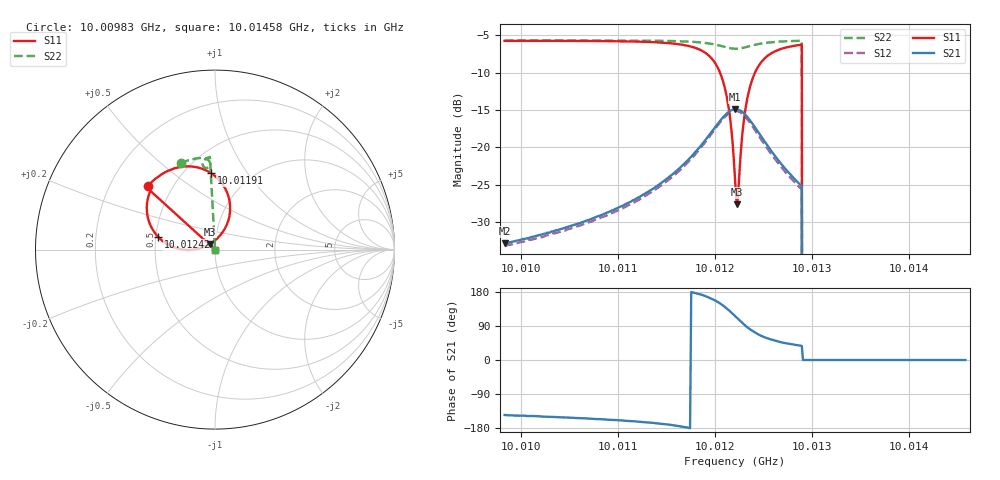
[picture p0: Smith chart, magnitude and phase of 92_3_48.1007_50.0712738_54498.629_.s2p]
#  HZ  S  RI  R  50.00
! Rohde & Schwarz Vector Network Analyzer
! Rohde-Schwarz,ZNB20-2Port,1311601062101988,3.16
! Created: UTC 12/23/2023, 3:43:51 AM
! freq[Hz]  re:S11  im:S11  re:S21  im:S21  re:S12  im:S12  re:S22  im:S22
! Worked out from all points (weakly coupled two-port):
!   401 points, 10.00983 GHz to 10.01458 GHz, reference 50 ohm
!   highest |S21| = -14.89 dB at 10.01221 GHz (marker M1); lowest = -32.8 dB at 10.00983 GHz (marker M2)
!   lowest |S11| = -27.6 dB at 10.01223 GHz (marker M3), VSWR 1.09, Z = 47.3 + j3.04 ohm
!   |S11| at or under -10 dB: 10.01205 GHz to 10.01241 GHz (361.2 kHz wide, 0.00361 % of centre); 10.0129 GHz to end of sweep
!   |S22| runs from - to -5.7 dB; largest |S21 - S12| = 0.0087
!   S11 on the Smith chart (normalised r, x): 10.00983 GHz: 0.36, +0.35; 10.01191 GHz: 0.67, +0.70; 10.01242 GHz: 0.52, +0.08; 10.01458 GHz: 1.00, +0.00
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1.0009831e10  -0.3744 0.3548  -0.0187 -0.013  -0.0173 -0.0132  -0.1917 0.4818
1.0010627e10  -0.3189 0.4048  -0.0282 -0.014  -0.0266 -0.0146  -0.1409 0.4996
1.0011423e10  -0.2135 0.4562  -0.0551 -0.012  -0.0524 -0.0142  -0.0829 0.5099
1.0011697e10  -0.1328 0.4634  -0.079 -0.00384  -0.0761 -0.00758  -0.0586 0.5079
1.001191e10  -0.0201 0.4247  -0.1113 0.024  -0.1091 0.0176  -0.0364 0.4975
1.0012017e10  0.0516 0.3494  -0.1274 0.0594  -0.1268 0.0518  -0.0275 0.4844
1.00121e10  0.0843 0.2384  -0.126 0.1039  -0.1277 0.0957  -0.0273 0.4693
1.001216e10  0.0645 0.1359  -0.107 0.1396  -0.1105 0.1317  -0.0343 0.4593
1.0012207e10  0.0115 0.0613  -0.08 0.1613  -0.0827 0.155  -0.0438 0.455
1.0012219e10  -0.00747 0.0453  -0.0711 0.1652  -0.0747 0.1588  -0.0463 0.4547
1.0012231e10  -0.0266 0.0321  -0.0628 0.1682  -0.0657 0.1621  -0.049 0.4547
1.0012243e10  -0.0483 0.0204  -0.0534 0.1703  -0.057 0.1643  -0.0517 0.4551
1.0012291e10  -0.1363 -0.00169  -0.0174 0.1701  -0.0225 0.164  -0.061 0.4597
1.0012314e10  -0.1792 0.000161  -0.00165 0.1652  -0.00676 0.1596  -0.0645 0.4634
1.0012362e10  -0.2529 0.0233  0.0233 0.1497  0.018 0.145  -0.0684 0.4717
1.0012421e10  -0.3162 0.0706  0.0426 0.1272  0.037 0.1229  -0.0687 0.4824
1.0012588e10  -0.3781 0.2009  0.0557 0.075  0.0503 0.0736  -0.0568 0.5025
1.0012873e10  -0.3626 0.3208  0.0446 0.0352  0.0408 0.0356  -0.0306 0.5156
1.0012932e10  0 0  0 0  0 0  0 0
1.0013003e10  0 0  0 0  0 0  0 0
1.0013799e10  0 0  0 0  0 0  0 0
1.0014584e10  0 0  0 0  0 0  0 0
